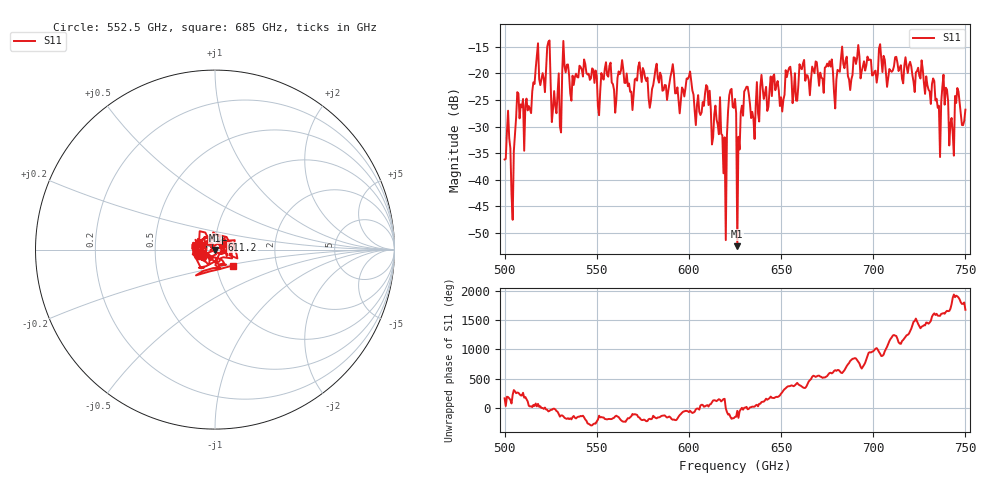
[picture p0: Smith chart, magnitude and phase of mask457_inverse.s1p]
!Created with skrf (http://scikit-rf.org).
# GHz S MA R 50.0
!freq magS11 angS11
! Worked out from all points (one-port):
!   401 points, 500 GHz to 750 GHz, reference 50 ohm
!   lowest |S11| = -52.5 dB at 626.2 GHz (marker M1), VSWR 1.00, Z = 50.1 - j0.193 ohm
!   |S11| at or under -10 dB: start of sweep to end of sweep
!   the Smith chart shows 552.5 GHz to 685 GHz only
!   S11 on the Smith chart (normalised r, x): 552.5 GHz: 0.82, -0.05; 611.2 GHz: 1.08, +0.12; 685 GHz: 1.20, -0.22
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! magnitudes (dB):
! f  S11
! 500 GHz  -36.2
! 504.4 GHz  -47.5
! 507.5 GHz  -23.8
! 511.9 GHz  -24.7
! 516.9 GHz  -19.0
! 523.8 GHz  -14.1
! 526.9 GHz  -23.3
! 531.2 GHz  -19.9
! 533.1 GHz  -19.8
! 552.5 GHz  -19.9
! 562.5 GHz  -20.2
! 593.8 GHz  -22.6
! 611.2 GHz  -23.3
! 618.8 GHz  -38.8
! 622.5 GHz  -23.2
! 625 GHz  -24.8
! 626.2 GHz  -52.5
! 631.2 GHz  -22.5
! 635 GHz  -28.5
! 656.2 GHz  -25.6
! 685 GHz  -17.6
! 687.5 GHz  -23.1
! 718.8 GHz  -19.9
! 735 GHz  -26.5
! 738.8 GHz  -25.9
! 742.5 GHz  -28.4
! 745.6 GHz  -22.8
! 750 GHz  -26.8
